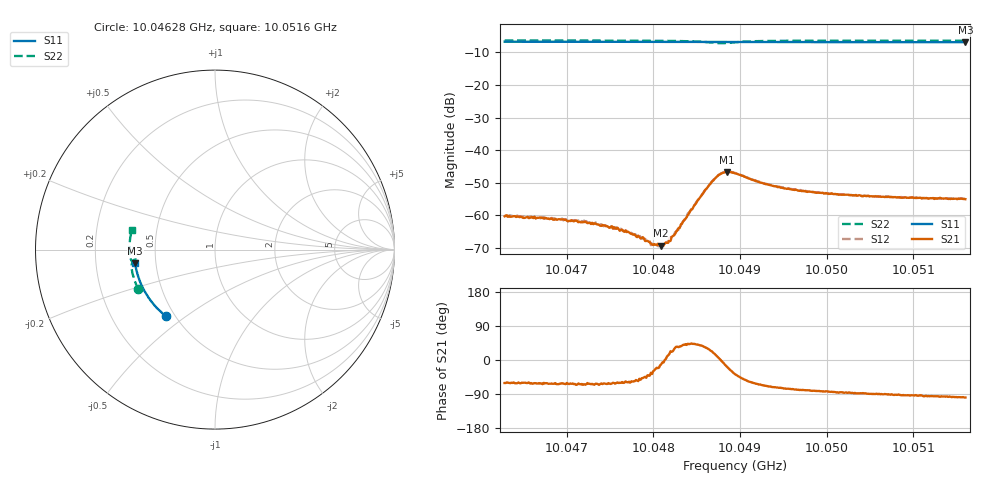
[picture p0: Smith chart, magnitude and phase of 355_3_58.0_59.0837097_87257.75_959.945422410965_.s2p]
#  HZ  S  RI  R  50.00
! Rohde & Schwarz Vector Network Analyzer
! Rohde-Schwarz,ZNB20-2Port,1311601062101988,3.16
! Created: UTC 3/21/2024, 1:06:11 AM
! freq[Hz]  re:S11  im:S11  re:S21  im:S21  re:S12  im:S12  re:S22  im:S22
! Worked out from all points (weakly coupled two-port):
!   401 points, 10.04628 GHz to 10.0516 GHz, reference 50 ohm
!   highest |S21| = -46.69 dB at 10.04885 GHz (marker M1); lowest = -69.3 dB at 10.04809 GHz (marker M2)
!   lowest |S11| = -6.9 dB at 10.0516 GHz (marker M3), VSWR 2.65, Z = 19 - j3.67 ohm
!   |S11| at or under -10 dB: nowhere
!   |S22| runs from -7.2 to -6.4 dB; largest |S21 - S12| = 0.00035
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1.0046283e10  -0.2734 -0.3714  0.00047 -0.00084  0.000537 -0.000828  -0.4272 -0.2215
1.0046749e10  -0.2969 -0.3517  0.000429 -0.000805  0.00046 -0.000757  -0.4399 -0.193
1.0047174e10  -0.3172 -0.3323  0.00035 -0.000697  0.000406 -0.000707  -0.4498 -0.1658
1.004744e10  -0.329 -0.3197  0.000323 -0.000617  0.000342 -0.000611  -0.4553 -0.1481
1.00476e10  -0.3362 -0.3119  0.000301 -0.000537  0.000344 -0.000522  -0.4582 -0.1374
1.0047852e10  -0.3468 -0.299  0.00027 -0.000348  0.000321 -0.000336  -0.4619 -0.1195
1.0047998e10  -0.3528 -0.2913  0.000304 -0.000171  0.000312 -0.000174  -0.4636 -0.1086
1.0048065e10  -0.3555 -0.2879  0.000328 -0.000121  0.000329 -6.66e-05  -0.4641 -0.1034
1.0048091e10  -0.3565 -0.2865  0.000336 -6.61e-05  0.000337 -3.3e-05  -0.4644 -0.1014
1.0048171e10  -0.3597 -0.2823  0.000369 8.22e-05  0.00038 0.000117  -0.4649 -0.0951
1.0048224e10  -0.3618 -0.2795  0.000442 0.000187  0.000445 0.000231  -0.4647 -0.0906
1.0048291e10  -0.3643 -0.276  0.000531 0.000357  0.000482 0.000358  -0.4645 -0.0849
1.004853e10  -0.3732 -0.2629  0.0014 0.00115  0.00133 0.00124  -0.4572 -0.0631
1.004869e10  -0.3787 -0.2541  0.0032 0.00113  0.00318 0.00136  -0.4408 -0.0554
1.004877e10  -0.3814 -0.2498  0.00425 0.000135  0.00426 0.000363  -0.4329 -0.0614
1.0048849e10  -0.384 -0.2453  0.00441 -0.0014  0.00453 -0.00114  -0.434 -0.0713
1.0048942e10  -0.3871 -0.2402  0.00348 -0.00266  0.00372 -0.00246  -0.4447 -0.0763
1.0049315e10  -0.3993 -0.219  0.00107 -0.00278  0.00123 -0.00273  -0.4702 -0.0495
1.0049514e10  -0.405 -0.2071  0.000658 -0.00249  0.000835 -0.00252  -0.474 -0.0335
1.0049833e10  -0.4138 -0.188  0.000335 -0.00224  0.000473 -0.00223  -0.4763 -0.00949
1.0050724e10  -0.4331 -0.1328  -3.78e-05 -0.00192  5.62e-05 -0.00189  -0.4739 0.0522
1.0051601e10  -0.4453 -0.0769  -0.000274 -0.00174  -0.000187 -0.00176  -0.4634 0.1098
